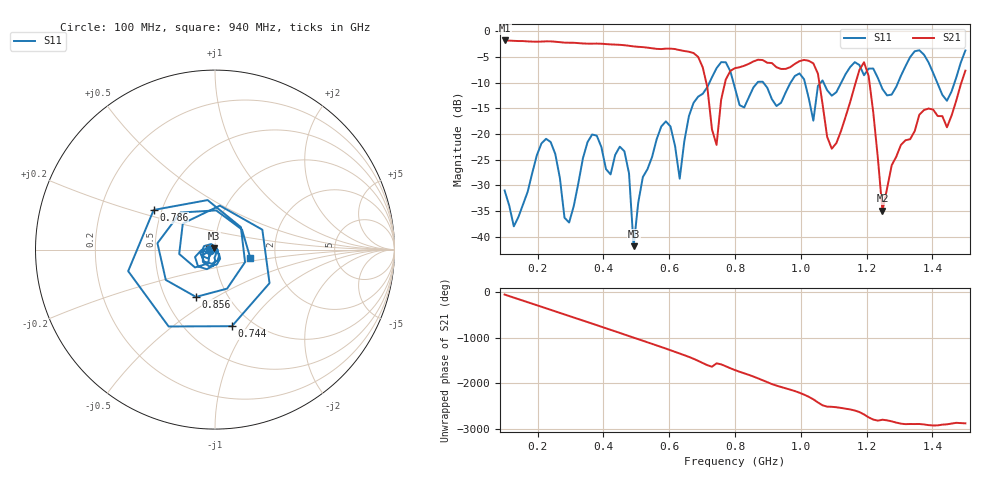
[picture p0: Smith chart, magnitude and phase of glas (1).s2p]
! NanoVNA-App
! Date: 2025-09-25 15:55:29
! Start: 100MHz Stop: 1,5GHz Points: 101
! S-Parameter data: F S11 S21 S12 S22
# Hz S RI R 50
!  Frequency  S11_Real  S11_Imag  S21_Real  S21_Imag  S12_Real  S12_Imag  S22_Real  S22_Imag
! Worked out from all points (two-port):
!   101 points, 100 MHz to 1.5 GHz, reference 50 ohm
!   highest |S21| = -1.80 dB at 100 MHz (marker M1); lowest = -34.9 dB at 1.248 GHz (marker M2)
!   |S21| within 3 dB of the highest: start of sweep to 684.3 MHz
!   lowest |S11| = -41.8 dB at 492 MHz (marker M3), VSWR 1.02, Z = 49.5 + j0.633 ohm
!   |S11| at or under -10 dB: start of sweep to 722.4 MHz; 795.3 MHz to 868 MHz (72.62 MHz wide, 8.73 % of centre); 886.1 MHz to 968.9 MHz (82.75 MHz wide, 8.92 % of centre) (the widest 3 of 7)
!   S12 and S22 are empty: the file has one direction only
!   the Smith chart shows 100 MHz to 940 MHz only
!   S11 on the Smith chart (normalised r, x): 100 MHz: 0.95, -0.01; 744 MHz: 0.81, -0.85; 786 MHz: 0.45, +0.24; 856 MHz: 0.71, -0.41; 940 MHz: 1.48, -0.14
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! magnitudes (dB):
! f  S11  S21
! 100 MHz  -31.0  -1.8
! 128 MHz  -37.9  -1.9
! 226 MHz  -20.9  -2.0
! 296 MHz  -37.2  -2.2
! 338 MHz  -24.7  -2.4
! 464 MHz  -23.4  -2.7
! 492 MHz  -41.8  -3.0
! 576 MHz  -18.5  -3.5
! 632 MHz  -28.7  -3.7
! 702 MHz  -12.2  -7.0
! 744 MHz  -7.2  -22.1
! 786 MHz  -7.8  -7.7
! 800 MHz  -11.1  -7.2
! 856 MHz  -10.9  -5.9
! 940 MHz  -13.9  -7.3
! 996 MHz  -8.2  -5.8
! 1.038 GHz  -17.4  -6.2
! 1.094 GHz  -12.5  -22.8
! 1.192 GHz  -8.6  -6.0
! 1.248 GHz  -11.2  -34.9
! 1.276 GHz  -12.3  -26.1
! 1.5 GHz  -3.7  -7.7
